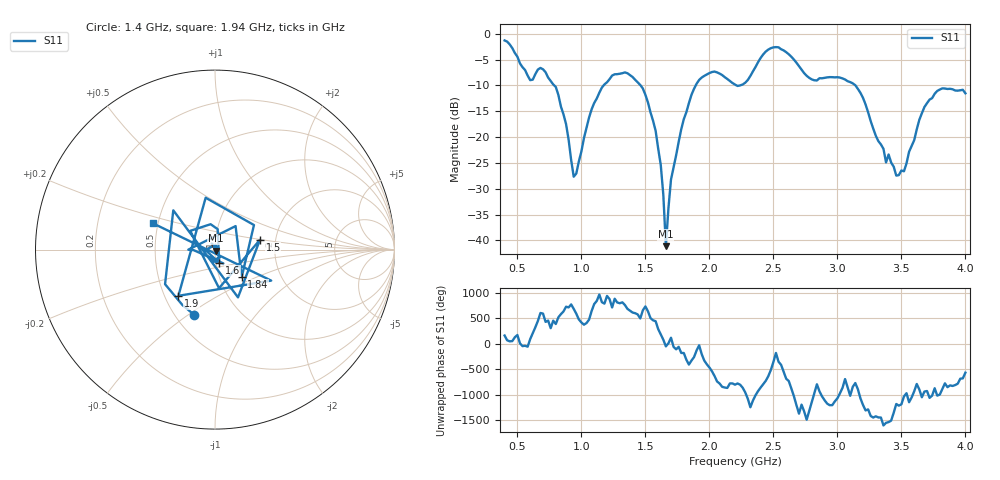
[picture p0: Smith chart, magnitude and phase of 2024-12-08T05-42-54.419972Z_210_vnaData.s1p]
!Created with skrf (http://scikit-rf.org).
# Hz S RI R 50.0
!freq ReS11 ImS11
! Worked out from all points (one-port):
!   181 points, 400 MHz to 4 GHz, reference 50 ohm
!   lowest |S11| = -41.1 dB at 1.66 GHz (marker M1), VSWR 1.02, Z = 50.6 - j0.679 ohm
!   |S11| at or under -10 dB: 787.5 MHz to 1.174 GHz (386.2 MHz wide, 39.4 % of centre); 1.462 GHz to 1.893 GHz (430.9 MHz wide, 25.7 % of centre); 3.141 GHz to end of sweep (the widest 3 of 4)
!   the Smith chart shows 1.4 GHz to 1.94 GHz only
!   S11 on the Smith chart (normalised r, x): 1.4 GHz: 0.62, -0.53; 1.5 GHz: 1.65, +0.19; 1.6 GHz: 1.04, -0.15; 1.84 GHz: 1.28, -0.41; 1.9 GHz: 0.59, -0.34; 1.94 GHz: 0.47, +0.16
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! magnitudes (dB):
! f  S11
! 400 MHz  -1.3
! 600 MHz  -9.0
! 720 MHz  -7.4
! 860 MHz  -15.6
! 940 MHz  -27.7
! 1.1 GHz  -13.4
! 1.3 GHz  -7.7
! 1.4 GHz  -8.4
! 1.5 GHz  -11.8
! 1.6 GHz  -22.3
! 1.64 GHz  -31.2
! 1.66 GHz  -41.1
! 1.7 GHz  -28.2
! 1.76 GHz  -20.9
! 1.84 GHz  -13.4
! 1.9 GHz  -9.7
! 1.94 GHz  -8.5
! 2.2 GHz  -9.8
! 2.48 GHz  -2.8
! 2.66 GHz  -5.0
! 2.8 GHz  -8.8
! 3.1 GHz  -9.4
! 3.2 GHz  -12.4
! 3.46 GHz  -27.5
! 3.56 GHz  -22.8
! 3.68 GHz  -14.2
! 3.78 GHz  -11.1
! 4 GHz  -11.5
